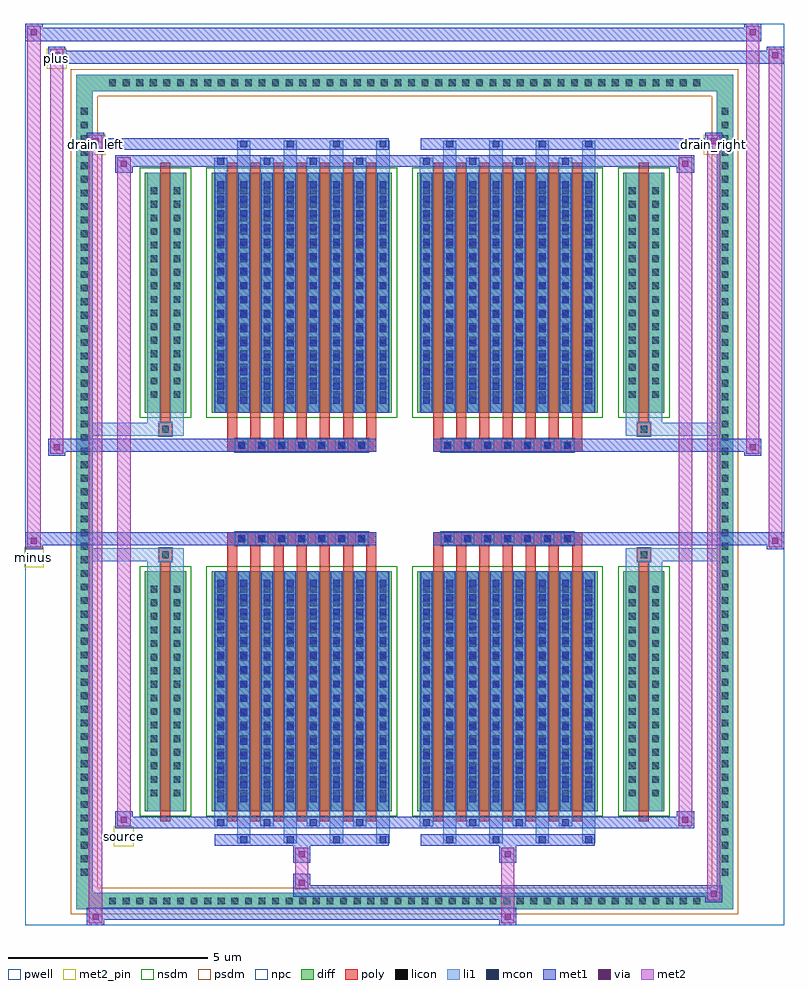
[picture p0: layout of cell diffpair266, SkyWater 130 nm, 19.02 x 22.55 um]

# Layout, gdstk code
import gdstk
lib = gdstk.Library(unit=1e-6, precision=5e-09)
def R(c, l, rs):  # rectangles x0, y0, x1, y1
    for r in rs: c.add(gdstk.rectangle(r[:2], r[2:], *l))
def A(c, l, x, y, w, h, nx, ny, dx, dy):  # array of equal rectangles
    R(c, l, [(x+i*dx, y+j*dy, x+i*dx+w, y+j*dy+h) for i in range(nx) for j in range(ny)])
def P(c, l, *ps):  # polygons
    for p in ps: c.add(gdstk.Polygon(p, *l))
pwell = (64, 44)
diff = (65, 20)
poly = (66, 20)
licon = (66, 44)
li1 = (67, 20)
mcon = (67, 44)
met1 = (68, 20)
via = (68, 44)
met2_pin = (69, 16)
met2 = (69, 20)
nsdm = (93, 44)
psdm = (94, 20)
npc = (95, 20)

diffpair266 = lib.new_cell('diffpair266')
R(diffpair266, pwell, [(-9.49,-10.84,9.49,11.71), (-6.81,-9.03,-0.01,-0.805), (0.01,-9.03,6.81,-0.805), (-6.81,0.805,-0.01,9.03), (0.01,0.805,6.81,9.03)])
A(diffpair266, diff, -7.515, -10.44, 0.41, 0.41, 44, 2, 0.34, 20.47)
A(diffpair266, diff, -8.22, -9.725, 0.41, 0.41, 1, 57, 0, 0.34)
A(diffpair266, diff, 7.81, -9.725, 0.41, 0.41, 1, 57, 0, 0.34)
R(diffpair266, diff, [(-7.515,-10.44,7.515,-10.03), (-8.22,-9.725,-7.81,9.725), (7.81,-9.725,8.22,9.725), (-6.5,-7.985,-5.47,-1.985), (-4.83,-7.985,-0.32,-1.985), (0.32,-7.985,4.83,-1.985), (5.47,-7.985,6.5,-1.985), (-6.5,1.985,-5.47,7.985), (-4.83,1.985,-0.32,7.985), (0.32,1.985,4.83,7.985), (5.47,1.985,6.5,7.985), (-7.515,10.03,7.515,10.44)])
P(diffpair266, diff, [(8.22,10.44),(-8.22,10.44),(-8.22,-10.03),(-7.81,-10.03),(-7.81,10.03),(7.81,10.03),(7.81,-10.03),(-7.81,-10.03),(-8.22,-10.03),(-8.22,-10.44),(8.22,-10.44)])
A(diffpair266, poly, -4.44, -8.235, 0.25, 6.5, 7, 2, 0.58, 9.97)
A(diffpair266, poly, 0.71, -8.235, 0.25, 6.5, 7, 2, 0.58, 9.97)
A(diffpair266, poly, -4.44, -1.735, 0.25, 0.4, 7, 2, 0.58, 3.07)
A(diffpair266, poly, 0.71, -1.735, 0.25, 0.4, 7, 2, 0.58, 3.07)
A(diffpair266, poly, -4.24, -1.335, 0.33, 0.33, 7, 2, 0.5, 2.34)
A(diffpair266, poly, 0.91, -1.335, 0.33, 0.33, 7, 2, 0.5, 2.34)
R(diffpair266, poly, [(-6.11,-8.235,-5.86,-1.735), (5.86,-8.235,6.11,-1.735), (-6.15,-1.735,-5.82,-1.405), (-6.15,-1.735,-5.82,-1.405), (5.82,-1.735,6.15,-1.405), (5.82,-1.735,6.15,-1.405), (-4.44,-1.335,-0.71,-1.005), (0.71,-1.335,4.44,-1.005), (-4.44,1.005,-0.71,1.335), (0.71,1.005,4.44,1.335), (-6.15,1.405,-5.82,1.735), (-6.15,1.405,-5.82,1.735), (5.82,1.405,6.15,1.735), (5.82,1.405,6.15,1.735), (-6.11,1.735,-5.86,8.235), (5.86,1.735,6.11,8.235)])
A(diffpair266, licon, -7.395, -10.32, 0.17, 0.17, 44, 2, 0.34, 20.47)
A(diffpair266, licon, -8.1, -9.605, 0.17, 0.17, 1, 57, 0, 0.34)
A(diffpair266, licon, 7.93, -9.605, 0.17, 0.17, 1, 57, 0, 0.34)
A(diffpair266, licon, -6.36, -7.62, 0.17, 0.17, 1, 16, 0, 0.34)
A(diffpair266, licon, -5.78, -7.62, 0.17, 0.17, 1, 16, 0, 0.34)
A(diffpair266, licon, -4.69, -7.62, 0.17, 0.17, 8, 16, 0.58, 0.34)
A(diffpair266, licon, 0.46, -7.62, 0.17, 0.17, 8, 16, 0.58, 0.34)
A(diffpair266, licon, 5.61, -7.62, 0.17, 0.17, 1, 16, 0, 0.34)
A(diffpair266, licon, 6.19, -7.62, 0.17, 0.17, 1, 16, 0, 0.34)
A(diffpair266, licon, -4.16, -1.255, 0.17, 0.17, 7, 2, 0.5, 2.34)
A(diffpair266, licon, 0.99, -1.255, 0.17, 0.17, 7, 2, 0.5, 2.34)
A(diffpair266, licon, -6.36, 2.35, 0.17, 0.17, 1, 16, 0, 0.34)
A(diffpair266, licon, -5.78, 2.35, 0.17, 0.17, 1, 16, 0, 0.34)
A(diffpair266, licon, -4.69, 2.35, 0.17, 0.17, 8, 16, 0.58, 0.34)
A(diffpair266, licon, 0.46, 2.35, 0.17, 0.17, 8, 16, 0.58, 0.34)
A(diffpair266, licon, 5.61, 2.35, 0.17, 0.17, 1, 16, 0, 0.34)
A(diffpair266, licon, 6.19, 2.35, 0.17, 0.17, 1, 16, 0, 0.34)
R(diffpair266, licon, [(-6.07,-1.655,-5.9,-1.485), (5.9,-1.655,6.07,-1.485), (-6.07,1.485,-5.9,1.655), (5.9,1.485,6.07,1.655)])
A(diffpair266, li1, -7.475, -10.4, 0.33, 0.33, 44, 2, 0.34, 20.47)
A(diffpair266, li1, -8.18, -9.685, 0.33, 0.33, 1, 57, 0, 0.34)
A(diffpair266, li1, 7.85, -9.685, 0.33, 0.33, 1, 57, 0, 0.34)
A(diffpair266, li1, -4.19, -8.79, 0.33, 0.805, 4, 2, 1.16, 16.775)
A(diffpair266, li1, -4.11, -8.79, 0.17, 0.17, 4, 2, 1.16, 17.41)
A(diffpair266, li1, 0.96, -8.79, 0.33, 0.805, 4, 2, 1.16, 16.775)
A(diffpair266, li1, 1.04, -8.79, 0.17, 0.17, 4, 2, 1.16, 17.41)
A(diffpair266, li1, -4.77, -8.36, 0.33, 0.375, 4, 2, 1.16, 16.345)
A(diffpair266, li1, -4.69, -8.36, 0.17, 0.17, 4, 2, 1.16, 16.55)
A(diffpair266, li1, 0.38, -8.36, 0.33, 0.375, 4, 2, 1.16, 16.345)
A(diffpair266, li1, 0.46, -8.36, 0.17, 0.17, 4, 2, 1.16, 16.55)
A(diffpair266, li1, -4.77, -7.985, 0.33, 6, 8, 2, 0.58, 9.97)
A(diffpair266, li1, 0.38, -7.985, 0.33, 6, 8, 2, 0.58, 9.97)
A(diffpair266, li1, -4.69, -7.77, 0.17, 0.17, 8, 16, 0.58, 0.36)
A(diffpair266, li1, -4.69, -7.77, 0.17, 5.57, 8, 2, 0.58, 9.97)
A(diffpair266, li1, 0.46, -7.77, 0.17, 0.17, 8, 16, 0.58, 0.36)
A(diffpair266, li1, 0.46, -7.77, 0.17, 5.57, 8, 2, 0.58, 9.97)
A(diffpair266, li1, -6.44, -7.7, 0.33, 0.33, 1, 16, 0, 0.34)
A(diffpair266, li1, -5.86, -7.7, 0.33, 0.33, 1, 16, 0, 0.34)
A(diffpair266, li1, -4.77, -7.7, 0.33, 0.33, 8, 16, 0.58, 0.34)
A(diffpair266, li1, 0.38, -7.7, 0.33, 0.33, 8, 16, 0.58, 0.34)
A(diffpair266, li1, 5.53, -7.7, 0.33, 0.33, 1, 16, 0, 0.34)
A(diffpair266, li1, 6.11, -7.7, 0.33, 0.33, 1, 16, 0, 0.34)
A(diffpair266, li1, -4.24, -1.335, 0.33, 0.33, 7, 2, 0.5, 2.34)
A(diffpair266, li1, 0.91, -1.335, 0.33, 0.33, 7, 2, 0.5, 2.34)
A(diffpair266, li1, -4.69, 2.2, 0.17, 0.17, 8, 16, 0.58, 0.36)
A(diffpair266, li1, 0.46, 2.2, 0.17, 0.17, 8, 16, 0.58, 0.36)
A(diffpair266, li1, -6.44, 2.27, 0.33, 0.33, 1, 16, 0, 0.34)
A(diffpair266, li1, -5.86, 2.27, 0.33, 0.33, 1, 16, 0, 0.34)
A(diffpair266, li1, -4.77, 2.27, 0.33, 0.33, 8, 16, 0.58, 0.34)
A(diffpair266, li1, 0.38, 2.27, 0.33, 0.33, 8, 16, 0.58, 0.34)
A(diffpair266, li1, 5.53, 2.27, 0.33, 0.33, 1, 16, 0, 0.34)
A(diffpair266, li1, 6.11, 2.27, 0.33, 0.33, 1, 16, 0, 0.34)
R(diffpair266, li1, [(-8.22,-10.44,-7.81,-10.03), (-8.22,-10.44,-7.81,-10.03), (-7.81,-10.44,7.81,-10.03), (7.81,-10.44,8.22,-10.03), (7.81,-10.44,8.22,-10.03), (-8.22,-10.03,-7.81,10.03), (7.81,-10.03,8.22,10.03), (-6.44,-7.985,-6.11,-1.985), (-5.86,-7.985,-5.53,-1.985), (5.53,-7.985,5.86,-1.985), (6.11,-7.985,6.44,-1.985), (-6.44,-1.985,-6.11,-1.405), (-5.86,-1.985,-5.53,-1.405), (5.53,-1.985,5.86,-1.405), (6.11,-1.985,6.44,-1.405), (-8.22,-1.735,-6.15,-1.405), (-6.44,-1.735,-6.15,-1.405), (-6.15,-1.735,-5.82,-1.405), (-5.82,-1.735,-5.53,-1.405), (5.53,-1.735,5.82,-1.405), (5.82,-1.735,6.15,-1.405), (5.82,-1.735,8.22,-1.405), (6.15,-1.735,6.44,-1.405), (-8.22,1.405,-6.15,1.735), (-6.44,1.405,-6.15,1.735), (-6.44,1.405,-6.11,1.985), (-6.15,1.405,-5.82,1.735), (-5.86,1.405,-5.53,1.985), (-5.82,1.405,-5.53,1.735), (5.53,1.405,5.82,1.735), (5.53,1.405,5.86,1.985), (5.82,1.405,6.15,1.735), (5.82,1.405,8.22,1.735), (6.11,1.405,6.44,1.985), (6.15,1.405,6.44,1.735), (-6.44,1.985,-6.11,7.985), (-5.86,1.985,-5.53,7.985), (5.53,1.985,5.86,7.985), (6.11,1.985,6.44,7.985), (-8.22,10.03,-7.81,10.44), (-8.22,10.03,-7.81,10.44), (-7.81,10.03,7.81,10.44), (7.81,10.03,8.22,10.44), (7.81,10.03,8.22,10.44)])
A(diffpair266, mcon, -4.11, -8.79, 0.17, 0.17, 4, 2, 1.16, 17.41)
A(diffpair266, mcon, 1.04, -8.79, 0.17, 0.17, 4, 2, 1.16, 17.41)
A(diffpair266, mcon, -4.69, -8.36, 0.17, 0.17, 4, 2, 1.16, 16.55)
A(diffpair266, mcon, 0.46, -8.36, 0.17, 0.17, 4, 2, 1.16, 16.55)
A(diffpair266, mcon, -4.69, -7.77, 0.17, 0.17, 8, 16, 0.58, 0.36)
A(diffpair266, mcon, 0.46, -7.77, 0.17, 0.17, 8, 16, 0.58, 0.36)
A(diffpair266, mcon, -4.16, -1.255, 0.17, 0.17, 7, 2, 0.5, 2.34)
A(diffpair266, mcon, 0.99, -1.255, 0.17, 0.17, 7, 2, 0.5, 2.34)
A(diffpair266, mcon, -4.69, 2.2, 0.17, 0.17, 8, 16, 0.58, 0.36)
A(diffpair266, mcon, 0.46, 2.2, 0.17, 0.17, 8, 16, 0.58, 0.36)
A(diffpair266, met1, -4.17, -8.85, 0.29, 0.29, 4, 2, 1.16, 17.41)
A(diffpair266, met1, 0.98, -8.85, 0.29, 0.29, 4, 2, 1.16, 17.41)
A(diffpair266, met1, -4.75, -8.42, 0.29, 0.29, 4, 2, 1.16, 16.55)
A(diffpair266, met1, 0.4, -8.42, 0.29, 0.29, 4, 2, 1.16, 16.55)
A(diffpair266, met1, -4.75, -7.985, 0.29, 6, 8, 2, 0.58, 9.97)
A(diffpair266, met1, 0.4, -7.985, 0.29, 6, 8, 2, 0.58, 9.97)
A(diffpair266, met1, -4.75, -7.83, 0.29, 0.29, 8, 16, 0.58, 0.36)
A(diffpair266, met1, 0.4, -7.83, 0.29, 0.29, 8, 16, 0.58, 0.36)
A(diffpair266, met1, -4.22, -1.315, 0.29, 0.29, 7, 2, 0.5, 2.34)
A(diffpair266, met1, 0.93, -1.315, 0.29, 0.29, 7, 2, 0.5, 2.34)
A(diffpair266, met1, -4.75, 2.14, 0.29, 0.29, 8, 16, 0.58, 0.36)
A(diffpair266, met1, 0.4, 2.14, 0.29, 0.29, 8, 16, 0.58, 0.36)
R(diffpair266, met1, [(-7.95,-10.84,-7.52,-10.41), (2.36,-10.84,2.79,-10.41), (-7.95,-10.7,2.79,-10.41), (7.52,-10.27,7.95,-9.84), (-2.79,-10.13,7.95,-9.84), (-2.79,-9.99,-2.36,-9.56), (-2.79,-9.28,-2.36,-8.85), (2.36,-9.28,2.79,-8.85), (-4.75,-8.85,-0.4,-8.56), (0.4,-8.85,4.75,-8.56), (-7.24,-8.42,-6.81,-7.99), (-7.24,-8.42,-4.75,-8.13), (-4.75,-8.42,-0.4,-8.13), (-0.4,-8.42,0.4,-8.13), (0.4,-8.42,4.75,-8.13), (4.75,-8.42,7.24,-8.13), (6.81,-8.42,7.24,-7.99), (-9.49,-1.435,-9.06,-1.005), (9.06,-1.435,9.49,-1.005), (-9.49,-1.335,-0.71,-1.005), (-4.44,-1.335,-0.71,-1.005), (0.71,-1.335,4.44,-1.005), (0.71,-1.335,9.49,-1.005), (-8.92,0.905,-8.49,1.335), (8.49,0.905,8.92,1.335), (-8.92,1.005,-4.44,1.335), (-4.44,1.005,-0.71,1.335), (0.71,1.005,4.44,1.335), (4.44,1.005,8.92,1.335), (-7.24,7.99,-6.81,8.42), (6.81,7.99,7.24,8.42), (-7.24,8.13,-4.75,8.42), (-4.75,8.13,-0.4,8.42), (-0.4,8.13,0.4,8.42), (0.4,8.13,4.75,8.42), (4.75,8.13,7.24,8.42), (-7.95,8.56,-7.52,8.99), (-7.95,8.56,-4.75,8.85), (-4.75,8.56,-0.4,8.85), (0.4,8.56,4.75,8.85), (4.75,8.56,7.95,8.85), (7.52,8.56,7.95,8.99), (-8.92,10.71,-8.49,11.14), (-8.92,10.71,-6.81,11.04), (-6.81,10.71,6.81,11.04), (6.81,10.71,9.49,11.04), (9.06,10.71,9.49,11.14), (-9.49,11.28,-9.06,11.71), (-9.49,11.28,-6.81,11.61), (-6.81,11.28,6.81,11.61), (6.81,11.28,8.92,11.61), (8.49,11.28,8.92,11.71)])
R(diffpair266, via, [(-7.81,-10.7,-7.66,-10.55), (2.5,-10.7,2.65,-10.55), (7.66,-10.13,7.81,-9.98), (-2.65,-9.85,-2.5,-9.7), (-2.65,-9.14,-2.5,-8.99), (2.5,-9.14,2.65,-8.99), (-7.1,-8.28,-6.95,-8.13), (6.95,-8.28,7.1,-8.13), (-9.35,-1.295,-9.2,-1.145), (9.2,-1.295,9.35,-1.145), (-8.78,1.045,-8.63,1.195), (8.63,1.045,8.78,1.195), (-7.1,8.13,-6.95,8.28), (6.95,8.13,7.1,8.28), (-7.81,8.7,-7.66,8.85), (7.66,8.7,7.81,8.85), (-8.78,10.85,-8.63,11), (9.2,10.85,9.35,11), (-9.35,11.42,-9.2,11.57), (8.63,11.42,8.78,11.57)])
R(diffpair266, met2_pin, [(-7.275,-8.87,-6.775,-8.37), (-9.525,-1.885,-9.025,-1.385), (-7.985,8.44,-7.485,8.94), (7.485,8.44,7.985,8.94), (-8.955,10.59,-8.455,11.09)])
R(diffpair266, met2, [(-7.9,-10.79,-7.57,-10.46), (-7.9,-10.79,-7.57,8.94), (2.41,-10.79,2.74,-10.46), (2.41,-10.46,2.74,-9.23), (7.57,-10.22,7.9,-9.89), (7.57,-10.22,7.9,8.94), (-2.74,-9.94,-2.41,-9.61), (-2.74,-9.61,-2.41,-9.23), (-2.74,-9.23,-2.41,-8.9), (2.41,-9.23,2.74,-8.9), (-7.19,-8.37,-6.86,-8.04), (-7.19,-8.37,-6.86,8.37), (6.86,-8.37,7.19,-8.04), (6.86,-8.37,7.19,8.37), (-9.44,-1.385,-9.11,-1.055), (-9.44,-1.385,-9.11,11.66), (9.11,-1.385,9.44,-1.055), (9.11,-1.385,9.44,11.09), (-8.87,0.955,-8.54,1.285), (-8.87,0.955,-8.54,11.09), (8.54,0.955,8.87,1.285), (8.54,0.955,8.87,11.66), (-7.19,8.04,-6.86,8.37), (6.86,8.04,7.19,8.37), (-7.9,8.61,-7.57,8.94), (7.57,8.61,7.9,8.94), (-8.87,10.76,-8.54,11.09), (9.11,10.76,9.44,11.09), (-9.44,11.33,-9.11,11.66), (8.54,11.33,8.87,11.66)])
P(diffpair266, met2, [(9.44,-1.385),(9.44,-1.385),(9.44,-1.055),(9.44,-1.055)],
  [(9.44,10.76),(9.44,10.76),(9.44,11.09),(9.44,11.09)],
  [(-9.11,-1.385),(-9.11,-1.385),(-9.11,-1.055),(-9.11,-1.055)],
  [(-9.11,11.33),(-9.11,11.33),(-9.11,11.66),(-9.11,11.66)],
  [(8.87,0.955),(8.87,0.955),(8.87,1.285),(8.87,1.285)],
  [(8.87,11.33),(8.87,11.33),(8.87,11.66),(8.87,11.66)],
  [(-8.54,0.955),(-8.54,0.955),(-8.54,1.285),(-8.54,1.285)],
  [(-8.54,10.76),(-8.54,10.76),(-8.54,11.09),(-8.54,11.09)],
  [(-7.57,-10.79),(-7.57,-10.79),(-7.57,-10.46),(-7.57,-10.46)],
  [(-7.57,8.61),(-7.57,8.61),(-7.57,8.94),(-7.57,8.94)],
  [(7.9,-10.22),(7.9,-10.22),(7.9,-9.89),(7.9,-9.89)],
  [(7.9,8.61),(7.9,8.61),(7.9,8.94),(7.9,8.94)],
  [(-6.86,-8.37),(-6.86,-8.37),(-6.86,-8.04),(-6.86,-8.04)],
  [(-6.86,8.04),(-6.86,8.04),(-6.86,8.37),(-6.86,8.37)],
  [(7.19,-8.37),(7.19,-8.37),(7.19,-8.04),(7.19,-8.04)],
  [(7.19,8.04),(7.19,8.04),(7.19,8.37),(7.19,8.37)])
R(diffpair266, nsdm, [(-6.63,-8.115,-5.34,-1.855), (-4.96,-8.115,-0.19,-1.855), (0.19,-8.115,4.96,-1.855), (5.34,-8.115,6.63,-1.855), (-6.63,1.855,-5.34,8.115), (-4.96,1.855,-0.19,8.115), (0.19,1.855,4.96,8.115), (5.34,1.855,6.63,8.115)])
P(diffpair266, psdm, [(8.35,10.57),(-8.35,10.57),(-8.35,-9.9),(-7.68,-9.9),(-7.68,9.9),(7.68,9.9),(7.68,-9.9),(-7.68,-9.9),(-8.35,-9.9),(-8.35,-10.57),(8.35,-10.57)])
A(diffpair266, npc, -4.26, -1.355, 0.37, 0.37, 7, 2, 0.5, 2.34)
A(diffpair266, npc, 0.89, -1.355, 0.37, 0.37, 7, 2, 0.5, 2.34)
R(diffpair266, npc, [(-6.17,-1.755,-5.8,-1.385), (5.8,-1.755,6.17,-1.385), (-4.26,-1.355,-3.39,-0.985), (-4.26,-1.355,-3.39,-0.985), (-3.76,-1.355,-2.89,-0.985), (-3.76,-1.355,-2.89,-0.985), (-3.26,-1.355,-2.39,-0.985), (-3.26,-1.355,-2.39,-0.985), (-2.76,-1.355,-1.89,-0.985), (-2.76,-1.355,-1.89,-0.985), (-2.26,-1.355,-1.39,-0.985), (-2.26,-1.355,-1.39,-0.985), (-1.76,-1.355,-0.89,-0.985), (-1.76,-1.355,-0.89,-0.985), (0.89,-1.355,1.76,-0.985), (0.89,-1.355,1.76,-0.985), (1.39,-1.355,2.26,-0.985), (1.39,-1.355,2.26,-0.985), (1.89,-1.355,2.76,-0.985), (1.89,-1.355,2.76,-0.985), (2.39,-1.355,3.26,-0.985), (2.39,-1.355,3.26,-0.985), (2.89,-1.355,3.76,-0.985), (2.89,-1.355,3.76,-0.985), (3.39,-1.355,4.26,-0.985), (3.39,-1.355,4.26,-0.985), (-4.26,0.985,-3.39,1.355), (-4.26,0.985,-3.39,1.355), (-3.76,0.985,-2.89,1.355), (-3.76,0.985,-2.89,1.355), (-3.26,0.985,-2.39,1.355), (-3.26,0.985,-2.39,1.355), (-2.76,0.985,-1.89,1.355), (-2.76,0.985,-1.89,1.355), (-2.26,0.985,-1.39,1.355), (-2.26,0.985,-1.39,1.355), (-1.76,0.985,-0.89,1.355), (-1.76,0.985,-0.89,1.355), (0.89,0.985,1.76,1.355), (0.89,0.985,1.76,1.355), (1.39,0.985,2.26,1.355), (1.39,0.985,2.26,1.355), (1.89,0.985,2.76,1.355), (1.89,0.985,2.76,1.355), (2.39,0.985,3.26,1.355), (2.39,0.985,3.26,1.355), (2.89,0.985,3.76,1.355), (2.89,0.985,3.76,1.355), (3.39,0.985,4.26,1.355), (3.39,0.985,4.26,1.355), (-6.17,1.385,-5.8,1.755), (5.8,1.385,6.17,1.755)])
diffpair266.add(gdstk.Label('minus', (-9.275,-1.635), layer=69, texttype=5))
diffpair266.add(gdstk.Label('drain_right', (7.735,8.69), layer=69, texttype=5))
diffpair266.add(gdstk.Label('drain_left', (-7.735,8.69), layer=69, texttype=5))
diffpair266.add(gdstk.Label('source', (-7.025,-8.62), layer=69, texttype=5))
diffpair266.add(gdstk.Label('plus', (-8.705,10.84), layer=69, texttype=5))

lib.write_gds('diffpair266.gds')
